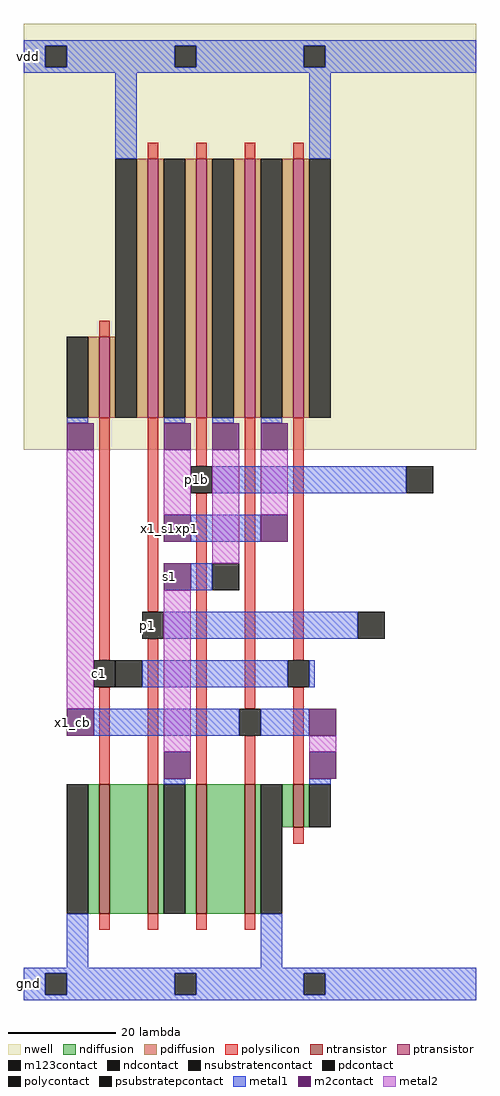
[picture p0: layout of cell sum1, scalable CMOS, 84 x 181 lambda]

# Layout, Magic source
magic
tech scmos
<< nwell >>
rect 0 102 84 181
<< ntransistor >>
rect 14 16 16 40
rect 23 16 25 40
rect 32 16 34 40
rect 41 16 43 40
rect 50 32 52 40
<< ptransistor >>
rect 14 108 16 123
rect 23 108 25 156
rect 32 108 34 156
rect 41 108 43 156
rect 50 108 52 156
<< ndiffusion >>
rect 12 16 14 40
rect 16 16 23 40
rect 25 16 26 40
rect 30 16 32 40
rect 34 16 41 40
rect 43 16 44 40
rect 48 32 50 40
rect 52 32 53 40
<< pdiffusion >>
rect 12 108 14 123
rect 16 108 17 123
rect 21 108 23 156
rect 25 108 26 156
rect 30 108 32 156
rect 34 108 35 156
rect 39 108 41 156
rect 43 108 44 156
rect 48 108 50 156
rect 52 108 53 156
<< ndcontact >>
rect 8 16 12 40
rect 26 16 30 40
rect 44 16 48 40
rect 53 32 57 40
<< pdcontact >>
rect 8 108 12 123
rect 17 108 21 156
rect 26 108 30 156
rect 35 108 39 156
rect 44 108 48 156
rect 53 108 57 156
<< psubstratepcontact >>
rect 4 1 8 5
rect 28 1 32 5
rect 52 1 56 5
<< nsubstratencontact >>
rect 4 173 8 177
rect 28 173 32 177
rect 52 173 56 177
<< polysilicon >>
rect 23 156 25 159
rect 32 156 34 159
rect 41 156 43 159
rect 50 156 52 159
rect 14 123 16 126
rect 14 63 16 108
rect 23 72 25 108
rect 32 99 34 108
rect 14 40 16 58
rect 23 40 25 67
rect 32 40 34 94
rect 41 54 43 108
rect 50 63 52 108
rect 41 40 43 49
rect 50 40 52 58
rect 50 29 52 32
rect 14 13 16 16
rect 23 13 25 16
rect 32 13 34 16
rect 41 13 43 16
<< polycontact >>
rect 31 94 35 99
rect 22 67 26 72
rect 13 58 17 63
rect 49 58 53 63
rect 40 49 44 54
<< metal1 >>
rect 0 177 84 178
rect 0 173 4 177
rect 8 173 28 177
rect 32 173 52 177
rect 56 173 84 177
rect 0 172 84 173
rect 17 156 21 172
rect 53 156 57 172
rect 8 107 12 108
rect 26 107 30 108
rect 35 107 39 108
rect 44 107 48 108
rect 35 94 71 99
rect 31 85 44 90
rect 31 76 35 81
rect 26 67 62 72
rect 22 58 49 63
rect 53 58 54 63
rect 13 49 40 54
rect 44 49 53 54
rect 26 40 30 41
rect 53 40 57 41
rect 8 6 12 16
rect 44 6 48 16
rect 0 5 84 6
rect 0 1 4 5
rect 8 1 28 5
rect 32 1 52 5
rect 56 1 84 5
rect 0 0 84 1
<< m2contact >>
rect 8 102 13 107
rect 26 102 31 107
rect 35 102 40 107
rect 44 102 49 107
rect 26 85 31 90
rect 44 85 49 90
rect 26 76 31 81
rect 8 49 13 54
rect 53 49 58 54
rect 26 41 31 46
rect 53 41 58 46
<< metal2 >>
rect 8 54 13 102
rect 26 90 31 102
rect 35 81 40 102
rect 44 90 49 102
rect 26 46 31 76
rect 53 46 58 49
<< m123contact >>
rect 71 94 76 99
rect 35 76 40 81
rect 17 58 22 63
rect 62 67 67 72
<< labels >>
rlabel metal1 13 58 15 63 0 c1
port 1 nsew
rlabel metal1 22 67 24 72 0 p1
port 2 nsew
rlabel metal1 31 94 33 99 0 p1b
port 3 nsew
rlabel m2contact 26 76 28 81 0 s1
port 4 nsew
rlabel m2contact 8 49 10 54 0 x1_cb
rlabel m2contact 26 85 28 90 0 x1_s1xp1
rlabel metal1 0 172 2 178 0 vdd
port 5 nsew
rlabel metal1 0 0 2 6 0 gnd
port 6 nsew
<< end >>
